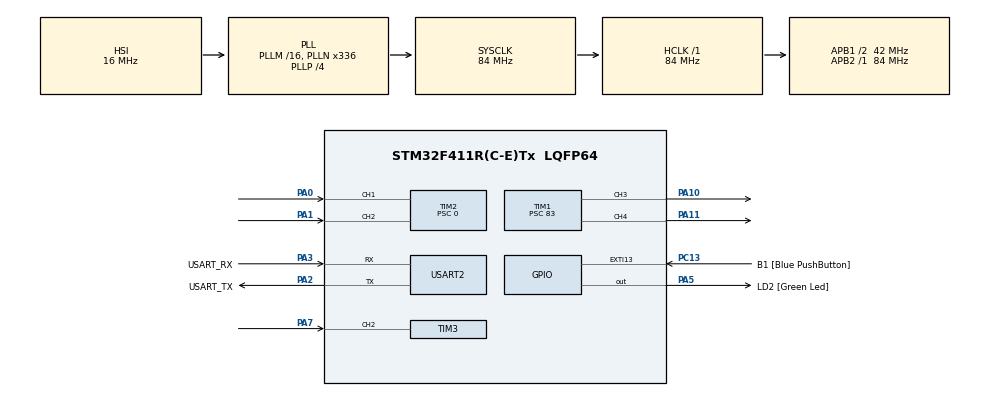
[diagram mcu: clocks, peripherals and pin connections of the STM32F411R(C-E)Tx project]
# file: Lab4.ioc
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Mcu.Family=STM32F4
Mcu.Name=STM32F411R(C-E)Tx
Mcu.Package=LQFP64
Mcu.UserConstants=QEI_PERIOD,64512
NVIC.PriorityGroup=NVIC_PRIORITYGROUP_0
NVIC.TIM5_IRQn=true\:0\:0\:false\:false\:true\:true\:true\:true
PA0-WKUP.Signal=S_TIM2_CH1_ETR
PA1.Signal=S_TIM2_CH2
PA10.Signal=S_TIM1_CH3
PA11.Signal=S_TIM1_CH4
PA13.GPIO_Label=TMS
PA13.Mode=Trace_Asynchronous_SW
PA13.Signal=SYS_JTMS-SWDIO
PA14.GPIO_Label=TCK
PA14.Mode=Trace_Asynchronous_SW
PA14.Signal=SYS_JTCK-SWCLK
PA2.GPIO_Label=USART_TX
PA2.Mode=Asynchronous
PA2.Signal=USART2_TX
PA3.GPIO_Label=USART_RX
PA3.Mode=Asynchronous
PA3.Signal=USART2_RX
PA5.GPIO_Label=LD2 [Green Led]
PA5.Signal=GPIO_Output
PA7.Signal=S_TIM3_CH2
PB3.GPIO_Label=SWO
PB3.Mode=Trace_Asynchronous_SW
PB3.Signal=SYS_JTDO-SWO
PC13-ANTI_TAMP.GPIO_Label=B1 [Blue PushButton]
PC13-ANTI_TAMP.GPIO_ModeDefaultEXTI=GPIO_MODE_IT_FALLING
PC13-ANTI_TAMP.Signal=GPXTI13
PC14-OSC32_IN.Mode=LSE-External-Oscillator
PC14-OSC32_IN.Signal=RCC_OSC32_IN
PC15-OSC32_OUT.Mode=LSE-External-Oscillator
PC15-OSC32_OUT.Signal=RCC_OSC32_OUT
PH0\ -\ OSC_IN.Mode=HSE-External-Clock-Source
PH0\ -\ OSC_IN.Signal=RCC_OSC_IN
PH1\ -\ OSC_OUT.Mode=HSE-External-Clock-Source
PH1\ -\ OSC_OUT.Signal=RCC_OSC_OUT
ProjectManager.HeapSize=0x200
ProjectManager.StackSize=0x400
ProjectManager.TargetToolchain=STM32CubeIDE
RCC.48MHZClocksFreq_Value=84000000
RCC.AHBFreq_Value=84000000
RCC.APB1CLKDivider=RCC_HCLK_DIV2
RCC.APB1Freq_Value=42000000
RCC.APB1TimFreq_Value=84000000
RCC.APB2Freq_Value=84000000
RCC.APB2TimFreq_Value=84000000
RCC.CortexFreq_Value=84000000
RCC.FLatency-AdvancedSettings=FLASH_LATENCY_2
RCC.HCLKFreq_Value=84000000
RCC.HSE_VALUE=8000000
RCC.HSI_VALUE=16000000
RCC.PLLN=336
RCC.PLLP=RCC_PLLP_DIV4
RCC.SYSCLKFreq_VALUE=84000000
RCC.SYSCLKSource=RCC_SYSCLKSOURCE_PLLCLK
RCC.VCOOutputFreq_Value=336000000
SH.S_TIM1_CH3.0=TIM1_CH3,PWM Generation3 CH3
SH.S_TIM1_CH4.0=TIM1_CH4,PWM Generation4 CH4
SH.S_TIM2_CH1_ETR.0=TIM2_CH1,Encoder_Interface
SH.S_TIM2_CH2.0=TIM2_CH2,Encoder_Interface
SH.S_TIM3_CH2.0=TIM3_CH2,PWM_Input_2
TIM1.Channel-PWM\ Generation3\ CH3=TIM_CHANNEL_3
TIM1.Channel-PWM\ Generation4\ CH4=TIM_CHANNEL_4
TIM1.Period=999
TIM1.Prescaler=83
TIM1.Pulse-PWM\ Generation3\ CH3=500
TIM1.Pulse-PWM\ Generation4\ CH4=500
TIM2.EncoderMode=TIM_ENCODERMODE_TI12
TIM2.Period=307199
TIM2.Prescaler=0
TIM3.Period=30699
TIM5.Prescaler=83
USART2.VirtualMode=VM_ASYNC
VP_TIM1_VS_ClockSourceINT.Mode=Internal
VP_TIM5_VS_ClockSourceINT.Mode=Internal
board=NUCLEO-F411RE

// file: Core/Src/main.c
/* USER CODE BEGIN Header */
/**
  ******************************************************************************
  * @file           : main.c
  * @brief          : Main program body
  ******************************************************************************
  * @attention
  *
  * Copyright (c) 2023 STMicroelectronics.
  * All rights reserved.
  *
  * This software is licensed under terms that can be found in the LICENSE file
  * in the root directory of this software component.
  * If no LICENSE file comes with this software, it is provided AS-IS.
  *
  ******************************************************************************
  */
/* USER CODE END Header */
#include "main.h"

/* USER CODE BEGIN Includes */
#include "math.h"
/* USER CODE END Includes */

TIM_HandleTypeDef htim1;
TIM_HandleTypeDef htim2;
TIM_HandleTypeDef htim3;
TIM_HandleTypeDef htim5;

UART_HandleTypeDef huart2;

/* USER CODE BEGIN PV */
uint32_t QEIReadRaw = 0;
uint32_t Degree = 0;
float kp = 0.1;
float ki = 0.05;
float kd = 0.01;
int target = 0;
float prevT = 0;
float currT = 0;
int e = 0;
float dedt = 0;
float eprev = 0;
float eintegral = 0;
float PWM = 0;
int Direction = 1;
float u = 0;

/* USER CODE END PV */

void SystemClock_Config(void);
static void MX_GPIO_Init(void);
static void MX_USART2_UART_Init(void);
static void MX_TIM3_Init(void);
static void MX_TIM1_Init(void);
static void MX_TIM2_Init(void);
static void MX_TIM5_Init(void);

int main(void)
{

  /* MCU Configuration--------------------------------------------------------*/

  /* Reset of all peripherals, Initializes the Flash interface and the Systick. */
  HAL_Init();

  /* Configure the system clock */
  SystemClock_Config();

  /* Initialize all configured peripherals */
  MX_GPIO_Init();
  MX_USART2_UART_Init();
  MX_TIM3_Init();
  MX_TIM1_Init();
  MX_TIM2_Init();
  MX_TIM5_Init();
  /* USER CODE BEGIN 2 */
HAL_TIM_Encoder_Start(&htim2, TIM_CHANNEL_1|TIM_CHANNEL_2);
HAL_TIM_Base_Start(&htim1);
HAL_TIM_PWM_Start(&htim1, TIM_CHANNEL_3);
HAL_TIM_PWM_Start(&htim1, TIM_CHANNEL_4);
  /* USER CODE END 2 */

  /* Infinite loop */
  while (1)
  {

    /* USER CODE BEGIN 3 */
	  	  static uint32_t timestamp =0;
	  if(HAL_GetTick()>timestamp)
	  {
		  timestamp = HAL_GetTick() + 5;
		  QEIReadRaw = __HAL_TIM_GET_COUNTER(&htim2);
	  }
	  Degree = (QEIReadRaw * 36000)/307200.0;
	  float deltaT = 0.01;
	e = target - Degree  ;
	dedt = (e - eprev)/(deltaT);
	eintegral = eintegral + e*deltaT;
	u = (kp*e) + (kd*dedt) + (ki*eintegral);
	if(e>1)
	{
		__HAL_TIM_SET_COMPARE(&htim1,TIM_CHANNEL_3,u);
		__HAL_TIM_SET_COMPARE(&htim1,TIM_CHANNEL_4,0);

	}
	if(e<-1){
		__HAL_TIM_SET_COMPARE(&htim1,TIM_CHANNEL_3,0);
		__HAL_TIM_SET_COMPARE(&htim1,TIM_CHANNEL_4,-u);
	}
	else {
		  Direction = 0;
		__HAL_TIM_SET_COMPARE(&htim1,TIM_CHANNEL_3,0);
		__HAL_TIM_SET_COMPARE(&htim1,TIM_CHANNEL_4,0);
	}
	eprev = e;
  }

  /* USER CODE END 3 */
}

void SystemClock_Config(void)
{
  RCC_OscInitTypeDef RCC_OscInitStruct = {0};
  RCC_ClkInitTypeDef RCC_ClkInitStruct = {0};

  /** Configure the main internal regulator output voltage
  */
  __HAL_RCC_PWR_CLK_ENABLE();
  __HAL_PWR_VOLTAGESCALING_CONFIG(PWR_REGULATOR_VOLTAGE_SCALE1);

  /** Initializes the RCC Oscillators according to the specified parameters
  * in the RCC_OscInitTypeDef structure.
  */
  RCC_OscInitStruct.OscillatorType = RCC_OSCILLATORTYPE_HSI;
  RCC_OscInitStruct.HSIState = RCC_HSI_ON;
  RCC_OscInitStruct.HSICalibrationValue = RCC_HSICALIBRATION_DEFAULT;
  RCC_OscInitStruct.PLL.PLLState = RCC_PLL_ON;
  RCC_OscInitStruct.PLL.PLLSource = RCC_PLLSOURCE_HSI;
  RCC_OscInitStruct.PLL.PLLM = 16;
  RCC_OscInitStruct.PLL.PLLN = 336;
  RCC_OscInitStruct.PLL.PLLP = RCC_PLLP_DIV4;
  RCC_OscInitStruct.PLL.PLLQ = 4;
  if (HAL_RCC_OscConfig(&RCC_OscInitStruct) != HAL_OK)
  {
    Error_Handler();
  }

  /** Initializes the CPU, AHB and APB buses clocks
  */
  RCC_ClkInitStruct.ClockType = RCC_CLOCKTYPE_HCLK|RCC_CLOCKTYPE_SYSCLK
                              |RCC_CLOCKTYPE_PCLK1|RCC_CLOCKTYPE_PCLK2;
  RCC_ClkInitStruct.SYSCLKSource = RCC_SYSCLKSOURCE_PLLCLK;
  RCC_ClkInitStruct.AHBCLKDivider = RCC_SYSCLK_DIV1;
  RCC_ClkInitStruct.APB1CLKDivider = RCC_HCLK_DIV2;
  RCC_ClkInitStruct.APB2CLKDivider = RCC_HCLK_DIV1;

  if (HAL_RCC_ClockConfig(&RCC_ClkInitStruct, FLASH_LATENCY_2) != HAL_OK)
  {
    Error_Handler();
  }
}

static void MX_TIM1_Init(void)
{

  TIM_ClockConfigTypeDef sClockSourceConfig = {0};
  TIM_MasterConfigTypeDef sMasterConfig = {0};
  TIM_OC_InitTypeDef sConfigOC = {0};
  TIM_BreakDeadTimeConfigTypeDef sBreakDeadTimeConfig = {0};

  htim1.Instance = TIM1;
  htim1.Init.Prescaler = 83;
  htim1.Init.CounterMode = TIM_COUNTERMODE_UP;
  htim1.Init.Period = 999;
  htim1.Init.ClockDivision = TIM_CLOCKDIVISION_DIV1;
  htim1.Init.RepetitionCounter = 0;
  htim1.Init.AutoReloadPreload = TIM_AUTORELOAD_PRELOAD_DISABLE;
  if (HAL_TIM_Base_Init(&htim1) != HAL_OK)
  {
    Error_Handler();
  }
  sClockSourceConfig.ClockSource = TIM_CLOCKSOURCE_INTERNAL;
  if (HAL_TIM_ConfigClockSource(&htim1, &sClockSourceConfig) != HAL_OK)
  {
    Error_Handler();
  }
  if (HAL_TIM_PWM_Init(&htim1) != HAL_OK)
  {
    Error_Handler();
  }
  sMasterConfig.MasterOutputTrigger = TIM_TRGO_RESET;
  sMasterConfig.MasterSlaveMode = TIM_MASTERSLAVEMODE_DISABLE;
  if (HAL_TIMEx_MasterConfigSynchronization(&htim1, &sMasterConfig) != HAL_OK)
  {
    Error_Handler();
  }
  sConfigOC.OCMode = TIM_OCMODE_PWM1;
  sConfigOC.Pulse = 500;
  sConfigOC.OCPolarity = TIM_OCPOLARITY_HIGH;
  sConfigOC.OCNPolarity = TIM_OCNPOLARITY_HIGH;
  sConfigOC.OCFastMode = TIM_OCFAST_DISABLE;
  sConfigOC.OCIdleState = TIM_OCIDLESTATE_RESET;
  sConfigOC.OCNIdleState = TIM_OCNIDLESTATE_RESET;
  if (HAL_TIM_PWM_ConfigChannel(&htim1, &sConfigOC, TIM_CHANNEL_3) != HAL_OK)
  {
    Error_Handler();
  }
  if (HAL_TIM_PWM_ConfigChannel(&htim1, &sConfigOC, TIM_CHANNEL_4) != HAL_OK)
  {
    Error_Handler();
  }
  sBreakDeadTimeConfig.OffStateRunMode = TIM_OSSR_DISABLE;
  sBreakDeadTimeConfig.OffStateIDLEMode = TIM_OSSI_DISABLE;
  sBreakDeadTimeConfig.LockLevel = TIM_LOCKLEVEL_OFF;
  sBreakDeadTimeConfig.DeadTime = 0;
  sBreakDeadTimeConfig.BreakState = TIM_BREAK_DISABLE;
  sBreakDeadTimeConfig.BreakPolarity = TIM_BREAKPOLARITY_HIGH;
  sBreakDeadTimeConfig.AutomaticOutput = TIM_AUTOMATICOUTPUT_DISABLE;
  if (HAL_TIMEx_ConfigBreakDeadTime(&htim1, &sBreakDeadTimeConfig) != HAL_OK)
  {
    Error_Handler();
  }
  HAL_TIM_MspPostInit(&htim1);

}

static void MX_TIM2_Init(void)
{

  TIM_Encoder_InitTypeDef sConfig = {0};
  TIM_MasterConfigTypeDef sMasterConfig = {0};

  htim2.Instance = TIM2;
  htim2.Init.Prescaler = 0;
  htim2.Init.CounterMode = TIM_COUNTERMODE_UP;
  htim2.Init.Period = 307199;
  htim2.Init.ClockDivision = TIM_CLOCKDIVISION_DIV1;
  htim2.Init.AutoReloadPreload = TIM_AUTORELOAD_PRELOAD_DISABLE;
  sConfig.EncoderMode = TIM_ENCODERMODE_TI12;
  sConfig.IC1Polarity = TIM_ICPOLARITY_RISING;
  sConfig.IC1Selection = TIM_ICSELECTION_DIRECTTI;
  sConfig.IC1Prescaler = TIM_ICPSC_DIV1;
  sConfig.IC1Filter = 0;
  sConfig.IC2Polarity = TIM_ICPOLARITY_RISING;
  sConfig.IC2Selection = TIM_ICSELECTION_DIRECTTI;
  sConfig.IC2Prescaler = TIM_ICPSC_DIV1;
  sConfig.IC2Filter = 0;
  if (HAL_TIM_Encoder_Init(&htim2, &sConfig) != HAL_OK)
  {
    Error_Handler();
  }
  sMasterConfig.MasterOutputTrigger = TIM_TRGO_RESET;
  sMasterConfig.MasterSlaveMode = TIM_MASTERSLAVEMODE_DISABLE;
  if (HAL_TIMEx_MasterConfigSynchronization(&htim2, &sMasterConfig) != HAL_OK)
  {
    Error_Handler();
  }

}

static void MX_TIM3_Init(void)
{

  TIM_SlaveConfigTypeDef sSlaveConfig = {0};
  TIM_IC_InitTypeDef sConfigIC = {0};
  TIM_MasterConfigTypeDef sMasterConfig = {0};

  htim3.Instance = TIM3;
  htim3.Init.Prescaler = 0;
  htim3.Init.CounterMode = TIM_COUNTERMODE_UP;
  htim3.Init.Period = 30699;
  htim3.Init.ClockDivision = TIM_CLOCKDIVISION_DIV1;
  htim3.Init.AutoReloadPreload = TIM_AUTORELOAD_PRELOAD_DISABLE;
  if (HAL_TIM_IC_Init(&htim3) != HAL_OK)
  {
    Error_Handler();
  }
  sSlaveConfig.SlaveMode = TIM_SLAVEMODE_RESET;
  sSlaveConfig.InputTrigger = TIM_TS_TI2FP2;
  sSlaveConfig.TriggerPolarity = TIM_INPUTCHANNELPOLARITY_FALLING;
  sSlaveConfig.TriggerPrescaler = TIM_ICPSC_DIV1;
  sSlaveConfig.TriggerFilter = 0;
  if (HAL_TIM_SlaveConfigSynchro(&htim3, &sSlaveConfig) != HAL_OK)
  {
    Error_Handler();
  }
  sConfigIC.ICPolarity = TIM_INPUTCHANNELPOLARITY_RISING;
  sConfigIC.ICSelection = TIM_ICSELECTION_INDIRECTTI;
  sConfigIC.ICPrescaler = TIM_ICPSC_DIV1;
  sConfigIC.ICFilter = 0;
  if (HAL_TIM_IC_ConfigChannel(&htim3, &sConfigIC, TIM_CHANNEL_1) != HAL_OK)
  {
    Error_Handler();
  }
  sConfigIC.ICPolarity = TIM_INPUTCHANNELPOLARITY_FALLING;
  sConfigIC.ICSelection = TIM_ICSELECTION_DIRECTTI;
  if (HAL_TIM_IC_ConfigChannel(&htim3, &sConfigIC, TIM_CHANNEL_2) != HAL_OK)
  {
    Error_Handler();
  }
  sMasterConfig.MasterOutputTrigger = TIM_TRGO_RESET;
  sMasterConfig.MasterSlaveMode = TIM_MASTERSLAVEMODE_DISABLE;
  if (HAL_TIMEx_MasterConfigSynchronization(&htim3, &sMasterConfig) != HAL_OK)
  {
    Error_Handler();
  }

}

static void MX_TIM5_Init(void)
{

  TIM_ClockConfigTypeDef sClockSourceConfig = {0};
  TIM_MasterConfigTypeDef sMasterConfig = {0};

  htim5.Instance = TIM5;
  htim5.Init.Prescaler = 83;
  htim5.Init.CounterMode = TIM_COUNTERMODE_UP;
  htim5.Init.Period = 4294967295;
  htim5.Init.ClockDivision = TIM_CLOCKDIVISION_DIV1;
  htim5.Init.AutoReloadPreload = TIM_AUTORELOAD_PRELOAD_DISABLE;
  if (HAL_TIM_Base_Init(&htim5) != HAL_OK)
  {
    Error_Handler();
  }
  sClockSourceConfig.ClockSource = TIM_CLOCKSOURCE_INTERNAL;
  if (HAL_TIM_ConfigClockSource(&htim5, &sClockSourceConfig) != HAL_OK)
  {
    Error_Handler();
  }
  sMasterConfig.MasterOutputTrigger = TIM_TRGO_RESET;
  sMasterConfig.MasterSlaveMode = TIM_MASTERSLAVEMODE_DISABLE;
  if (HAL_TIMEx_MasterConfigSynchronization(&htim5, &sMasterConfig) != HAL_OK)
  {
    Error_Handler();
  }

}

static void MX_USART2_UART_Init(void)
{

  huart2.Instance = USART2;
  huart2.Init.BaudRate = 115200;
  huart2.Init.WordLength = UART_WORDLENGTH_8B;
  huart2.Init.StopBits = UART_STOPBITS_1;
  huart2.Init.Parity = UART_PARITY_NONE;
  huart2.Init.Mode = UART_MODE_TX_RX;
  huart2.Init.HwFlowCtl = UART_HWCONTROL_NONE;
  huart2.Init.OverSampling = UART_OVERSAMPLING_16;
  if (HAL_UART_Init(&huart2) != HAL_OK)
  {
    Error_Handler();
  }

}

static void MX_GPIO_Init(void)
{
  GPIO_InitTypeDef GPIO_InitStruct = {0};

  /* GPIO Ports Clock Enable */
  __HAL_RCC_GPIOC_CLK_ENABLE();
  __HAL_RCC_GPIOH_CLK_ENABLE();
  __HAL_RCC_GPIOA_CLK_ENABLE();
  __HAL_RCC_GPIOB_CLK_ENABLE();

  /*Configure GPIO pin Output Level */
  HAL_GPIO_WritePin(LD2_GPIO_Port, LD2_Pin, GPIO_PIN_RESET);

  /*Configure GPIO pin : B1_Pin */
  GPIO_InitStruct.Pin = B1_Pin;
  GPIO_InitStruct.Mode = GPIO_MODE_IT_FALLING;
  GPIO_InitStruct.Pull = GPIO_NOPULL;
  HAL_GPIO_Init(B1_GPIO_Port, &GPIO_InitStruct);

  /*Configure GPIO pin : LD2_Pin */
  GPIO_InitStruct.Pin = LD2_Pin;
  GPIO_InitStruct.Mode = GPIO_MODE_OUTPUT_PP;
  GPIO_InitStruct.Pull = GPIO_NOPULL;
  GPIO_InitStruct.Speed = GPIO_SPEED_FREQ_LOW;
  HAL_GPIO_Init(LD2_GPIO_Port, &GPIO_InitStruct);

}

/* USER CODE BEGIN 4 */
//int _write(int file,char *ptr,int len)
//{
//	int i;
//
//	for(i=0;i<len; i++)
//	{
//		ITM_SendChar(*ptr++);
//	}
//	return len;
//}
//void HAL_TIM_PeriodElapsedCallback(TIM_HandleTypeDef *htim)
//{
//	if(htim == &htim5)
//	{
//		_micros += UINT32_MAX;
//	}
//}
//uint64_t micros()
//{
//	return __HAL_TIM_GET_COUNTER(&htim5)+_micros;
//}
//void QEIEncoderPositionVelocity_Update()
//{
//	//collect data
//	QEIData.timestamp[0] = micros();
//	uint32_t couterPosition = __HAL_TIM_GET_COUNTER(&htim2);
//	QEIData.data[0] = couterPosition;
//
//	//calculation
//	QEIData.QEIPosition = couterPosition % 3072;
//
//	int32_t diffPosition = QEIData.data[0] - QEIData.data[1];
//	float difftime = (QEIData.timestamp[0]-QEIData.timestamp[1]);
//
//	//handle wrap-around
//	if(diffPosition > QEI_PERIOD>>1) diffPosition -= QEI_PERIOD;
//	if(diffPosition < -(QEI_PERIOD>>1)) diffPosition += QEI_PERIOD;
//
//	//calculate angular velocity in pulse per sec
//	QEIData.QEIVelosity = (diffPosition * 1000000)/difftime;
//
//	QEIData.data[1] = QEIData.data[0];
//	QEIData.timestamp[1] = QEIData.timestamp[0];
//}
/* USER CODE END 4 */

void Error_Handler(void)
{
  __disable_irq();
  while (1)
  {
  }
}
